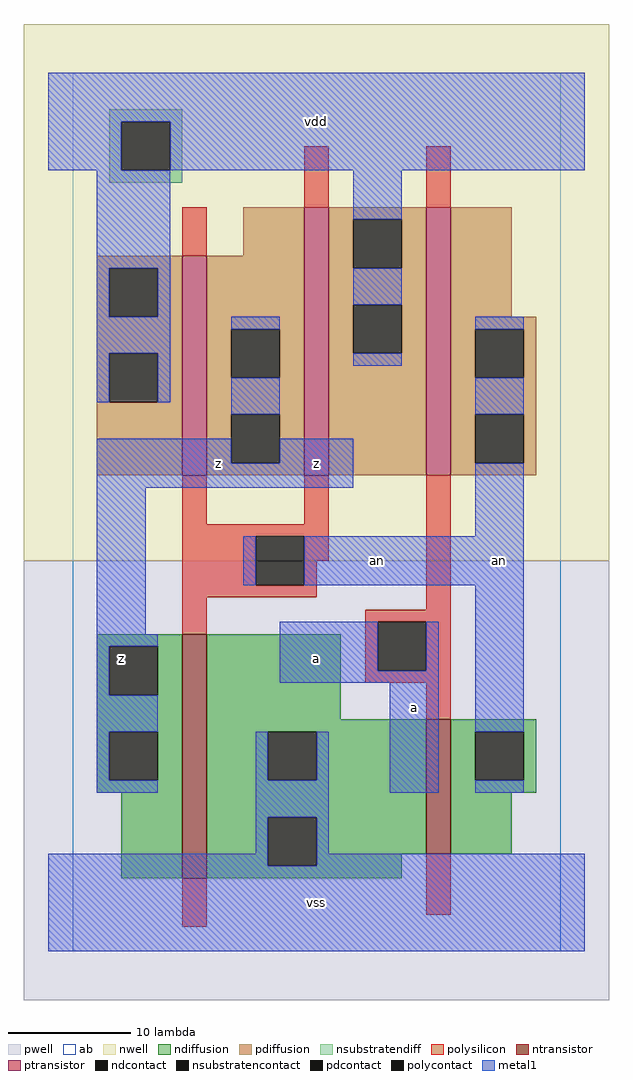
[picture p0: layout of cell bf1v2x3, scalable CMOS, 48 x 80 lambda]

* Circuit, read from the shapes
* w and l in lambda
.subckt bf1v2x3 a an vdd vss z
M1 vss an z VSUBS nfet w=20 l=2
M2 an a vss VSUBS nfet w=11 l=2
M3 z an vdd vdd pfet w=18 l=2
M4 vdd an z vdd pfet w=22 l=2
M5 an a vdd vdd pfet w=22 l=2
.ends

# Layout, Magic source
magic
tech scmos
<< ab >>
rect 0 0 40 72
<< pwell >>
rect -4 -4 44 32
<< nwell >>
rect -4 32 44 76
<< polysilicon >>
rect 19 61 21 66
rect 29 61 31 66
rect 9 57 11 61
rect 9 35 11 39
rect 19 35 21 39
rect 9 34 21 35
rect 9 30 15 34
rect 19 32 21 34
rect 19 30 20 32
rect 9 29 20 30
rect 9 26 11 29
rect 29 28 31 39
rect 24 27 31 28
rect 24 23 25 27
rect 29 23 31 27
rect 24 22 31 23
rect 29 19 31 22
rect 9 2 11 6
rect 29 3 31 8
<< ndiffusion >>
rect 2 25 9 26
rect 2 21 3 25
rect 7 21 9 25
rect 2 18 9 21
rect 2 14 3 18
rect 7 14 9 18
rect 2 13 9 14
rect 4 6 9 13
rect 11 19 22 26
rect 11 18 29 19
rect 11 14 16 18
rect 20 14 29 18
rect 11 11 29 14
rect 11 7 16 11
rect 20 8 29 11
rect 31 18 38 19
rect 31 14 33 18
rect 37 14 38 18
rect 31 13 38 14
rect 31 8 36 13
rect 20 7 27 8
rect 11 6 27 7
<< pdiffusion >>
rect 14 57 19 61
rect 2 56 9 57
rect 2 52 3 56
rect 7 52 9 56
rect 2 49 9 52
rect 2 45 3 49
rect 7 45 9 49
rect 2 39 9 45
rect 11 51 19 57
rect 11 47 13 51
rect 17 47 19 51
rect 11 44 19 47
rect 11 40 13 44
rect 17 40 19 44
rect 11 39 19 40
rect 21 60 29 61
rect 21 56 23 60
rect 27 56 29 60
rect 21 53 29 56
rect 21 49 23 53
rect 27 49 29 53
rect 21 39 29 49
rect 31 52 36 61
rect 31 51 38 52
rect 31 47 33 51
rect 37 47 38 51
rect 31 44 38 47
rect 31 40 33 44
rect 37 40 38 44
rect 31 39 38 40
<< metal1 >>
rect -2 68 42 72
rect -2 64 4 68
rect 8 64 42 68
rect 2 56 8 64
rect 2 52 3 56
rect 7 52 8 56
rect 23 60 27 64
rect 23 53 27 56
rect 2 49 8 52
rect 2 45 3 49
rect 7 45 8 49
rect 13 51 17 52
rect 23 48 27 49
rect 33 51 37 52
rect 13 44 17 47
rect 2 40 13 42
rect 33 44 37 47
rect 17 40 23 42
rect 2 38 23 40
rect 2 26 6 38
rect 33 34 37 40
rect 14 30 15 34
rect 19 30 37 34
rect 2 25 7 26
rect 2 21 3 25
rect 17 23 25 27
rect 29 23 30 27
rect 17 22 30 23
rect 2 18 7 21
rect 2 14 3 18
rect 2 13 7 14
rect 15 14 16 18
rect 20 14 21 18
rect 15 11 21 14
rect 26 13 30 22
rect 33 18 37 30
rect 33 13 37 14
rect 15 8 16 11
rect -2 7 16 8
rect 20 8 21 11
rect 20 7 42 8
rect -2 0 42 7
<< ntransistor >>
rect 9 6 11 26
rect 29 8 31 19
<< ptransistor >>
rect 9 39 11 57
rect 19 39 21 61
rect 29 39 31 61
<< polycontact >>
rect 15 30 19 34
rect 25 23 29 27
<< ndcontact >>
rect 3 21 7 25
rect 3 14 7 18
rect 16 14 20 18
rect 16 7 20 11
rect 33 14 37 18
<< pdcontact >>
rect 3 52 7 56
rect 3 45 7 49
rect 13 47 17 51
rect 13 40 17 44
rect 23 56 27 60
rect 23 49 27 53
rect 33 47 37 51
rect 33 40 37 44
<< nsubstratencontact >>
rect 4 64 8 68
<< nsubstratendiff >>
rect 3 68 9 69
rect 3 64 4 68
rect 8 64 9 68
rect 3 63 9 64
<< labels >>
rlabel ndcontact 4 24 4 24 6 z
rlabel metal1 12 40 12 40 6 z
rlabel metal1 20 4 20 4 6 vss
rlabel metal1 28 20 28 20 6 a
rlabel metal1 20 24 20 24 6 a
rlabel metal1 20 40 20 40 6 z
rlabel metal1 20 68 20 68 6 vdd
rlabel metal1 25 32 25 32 6 an
rlabel metal1 35 32 35 32 6 an
<< end >>
